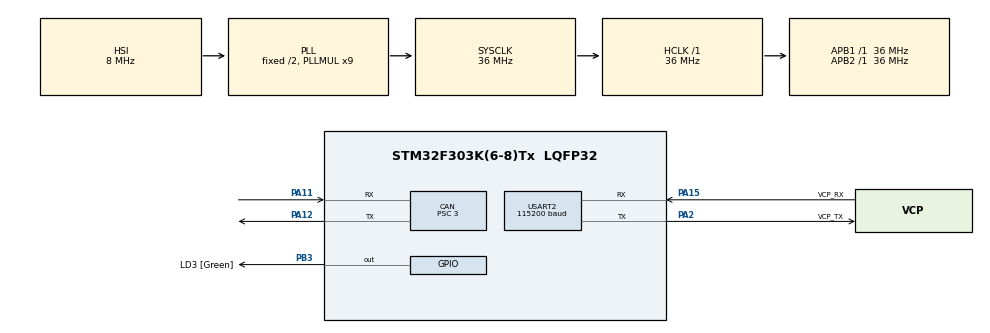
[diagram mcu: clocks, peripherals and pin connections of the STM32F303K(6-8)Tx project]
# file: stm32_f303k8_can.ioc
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CAN.BS1=CAN_BS1_9TQ
CAN.BS2=CAN_BS2_2TQ
CAN.CalculateBaudRate=999999
CAN.CalculateTimeQuantum=83.33333333333334
CAN.Mode=CAN_MODE_NORMAL
CAN.Prescaler=3
Dma.Request0=USART2_RX
Dma.USART2_RX.0.Direction=DMA_PERIPH_TO_MEMORY
Dma.USART2_RX.0.Instance=DMA1_Channel6
Dma.USART2_RX.0.MemDataAlignment=DMA_MDATAALIGN_BYTE
Dma.USART2_RX.0.MemInc=DMA_MINC_ENABLE
Dma.USART2_RX.0.Mode=DMA_NORMAL
Dma.USART2_RX.0.PeriphDataAlignment=DMA_PDATAALIGN_BYTE
Dma.USART2_RX.0.PeriphInc=DMA_PINC_DISABLE
Dma.USART2_RX.0.Priority=DMA_PRIORITY_LOW
Mcu.Family=STM32F3
Mcu.Name=STM32F303K(6-8)Tx
Mcu.Package=LQFP32
NVIC.CAN_RX0_IRQn=true\:0\:0\:false\:false\:true\:true\:true\:true
NVIC.CAN_TX_IRQn=true\:0\:0\:false\:false\:true\:true\:true\:true
NVIC.DMA1_Channel6_IRQn=true\:0\:0\:false\:false\:true\:false\:true\:true
NVIC.PriorityGroup=NVIC_PRIORITYGROUP_4
NVIC.USART2_IRQn=true\:0\:0\:false\:false\:true\:true\:true\:true
PA11.GPIO_PuPd=GPIO_NOPULL
PA11.Mode=CAN_Activate
PA11.Signal=CAN_RX
PA12.GPIO_Mode=GPIO_MODE_AF_PP
PA12.GPIO_PuPd=GPIO_PULLUP
PA12.Mode=CAN_Activate
PA12.Signal=CAN_TX
PA13.GPIO_Label=SWDIO
PA13.Mode=Serial_Wire
PA13.Signal=SYS_JTMS-SWDIO
PA14.GPIO_Label=SWCLK
PA14.Mode=Serial_Wire
PA14.Signal=SYS_JTCK-SWCLK
PA15.GPIO_Label=VCP_RX
PA15.GPIO_PuPd=GPIO_NOPULL
PA15.Mode=Asynchronous
PA15.Signal=USART2_RX
PA2.GPIO_Label=VCP_TX
PA2.GPIO_PuPd=GPIO_NOPULL
PA2.Mode=Asynchronous
PA2.Signal=USART2_TX
PB3.GPIO_Label=LD3 [Green]
PB3.Signal=GPIO_Output
PF0\ /\ OSC_IN.GPIO_Label=MCO
PF0\ /\ OSC_IN.Mode=HSE-External-Clock-Source
PF0\ /\ OSC_IN.Signal=RCC_OSC_IN
ProjectManager.HeapSize=0x200
ProjectManager.StackSize=0x400
ProjectManager.TargetToolchain=STM32CubeIDE
RCC.AHBFreq_Value=36000000
RCC.APB1Freq_Value=36000000
RCC.APB1TimFreq_Value=36000000
RCC.APB2Freq_Value=36000000
RCC.APB2TimFreq_Value=36000000
RCC.CortexFreq_Value=36000000
RCC.HCLKFreq_Value=36000000
RCC.HSE_VALUE=8000000
RCC.HSI_VALUE=8000000
RCC.PLLMUL=RCC_PLL_MUL9
RCC.SYSCLKFreq_VALUE=36000000
RCC.SYSCLKSourceVirtual=RCC_SYSCLKSOURCE_PLLCLK
USART2.BaudRate=115200
USART2.VirtualMode-Asynchronous=VM_ASYNC
board=NUCLEO-F303K8

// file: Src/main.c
/* USER CODE BEGIN Header */
/**
  ******************************************************************************
  * @file           : main.c
  * @brief          : Main program body
  ******************************************************************************
  * @attention
  *
  * <h2><center>&copy; Copyright (c) 2019 STMicroelectronics.
  * All rights reserved.</center></h2>
  *
  * This software component is licensed by ST under BSD 3-Clause license,
  * the "License"; You may not use this file except in compliance with the
  * License. You may obtain a copy of the License at:
  *                        opensource.org/licenses/BSD-3-Clause
  *
  ******************************************************************************
  */
/* USER CODE END Header */
#include "main.h"

 CAN_HandleTypeDef hcan;

UART_HandleTypeDef huart2;
DMA_HandleTypeDef hdma_usart2_rx;

/* USER CODE BEGIN PV */
CAN_FilterTypeDef sFilterConfig;
CAN_TxHeaderTypeDef TxHeader;
CAN_RxHeaderTypeDef RxHeader;
uint8_t TxData[8];
uint8_t RxData[8];
uint32_t TxMailbox;
/* USER CODE END PV */

void SystemClock_Config(void);
static void MX_GPIO_Init(void);
static void MX_USART2_UART_Init(void);
static void MX_DMA_Init(void);
static void MX_CAN_Init(void);

/* USER CODE BEGIN 0 */
uint8_t uart_data;
char tx_data[]="get_data\r\n";
int flag = 1;
uint8_t get_uart_flag=0;
uint8_t UART1_Data[2];
/* USER CODE END 0 */

int main(void)
{

  /* MCU Configuration--------------------------------------------------------*/

  /* Reset of all peripherals, Initializes the Flash interface and the Systick. */
  HAL_Init();

  /* Configure the system clock */
  SystemClock_Config();

  /* Initialize all configured peripherals */
  MX_GPIO_Init();
  MX_USART2_UART_Init();
  MX_DMA_Init();
  MX_CAN_Init();
  /* USER CODE BEGIN 2 */
  sFilterConfig.FilterBank = 0;
  sFilterConfig.FilterMode = CAN_FILTERMODE_IDMASK;
  sFilterConfig.FilterScale = CAN_FILTERSCALE_32BIT;
  sFilterConfig.FilterIdHigh = 0x0000;
  sFilterConfig.FilterIdLow = 0x0000;
  sFilterConfig.FilterMaskIdHigh = 0x0000;
  sFilterConfig.FilterMaskIdLow = 0x0000;
  sFilterConfig.FilterFIFOAssignment = CAN_RX_FIFO0;
  sFilterConfig.FilterActivation=ENABLE;
  sFilterConfig.SlaveStartFilterBank=14;
  if(HAL_CAN_ConfigFilter(&hcan,&sFilterConfig) != HAL_OK)
  {
    Error_Handler();
  }
  if(HAL_CAN_Start(&hcan)!=HAL_OK)
  {
    Error_Handler();
  }

  if(HAL_CAN_ActivateNotification(&hcan,CAN_IT_RX_FIFO0_MSG_PENDING | CAN_IT_TX_MAILBOX_EMPTY) != HAL_OK)
  {
	Error_Handler();
  }
  TxHeader.StdId=0x01;
  //TxHeader.ExtId=0x01;
  TxHeader.RTR = CAN_RTR_DATA;
  TxHeader.IDE = CAN_ID_STD;
  TxHeader.DLC = 8;
  TxHeader.TransmitGlobalTime = DISABLE;
  TxData[0] = 0xff;
  TxData[1] = 0x01;
  TxData[2] = 0x00;
  TxData[3] = 0x64;
  TxData[4] = 0x00;
  TxData[5] = 0x80;
  TxData[6] = 0x00;
  TxData[7] = 0x00;

  /* USER CODE END 2 */

  /* Infinite loop */
  while (1)
  {

    /* USER CODE BEGIN 3 */
	  get_uart_flag=0;
	  //HAL_UART_Receive_DMA(&huart2, UART1_Data, 1);
	  //受信するまで待つ
	  //while(!get_uart_flag){}
	  	  //TxData[6] = UART1_Data[0];
	  	  //TxData[7] = UART1_Data[1];
	  	  //HAL_CAN_AddTxMessage(&hcan,&TxHeader,TxData,&TxMailbox);
	  	  //HAL_Delay(100);
  	  //}
  }
  /* USER CODE END 3 */
}

void SystemClock_Config(void)
{
  RCC_OscInitTypeDef RCC_OscInitStruct = {0};
  RCC_ClkInitTypeDef RCC_ClkInitStruct = {0};

  /** Initializes the RCC Oscillators according to the specified parameters
  * in the RCC_OscInitTypeDef structure.
  */
  RCC_OscInitStruct.OscillatorType = RCC_OSCILLATORTYPE_HSI;
  RCC_OscInitStruct.HSIState = RCC_HSI_ON;
  RCC_OscInitStruct.HSICalibrationValue = RCC_HSICALIBRATION_DEFAULT;
  RCC_OscInitStruct.PLL.PLLState = RCC_PLL_ON;
  RCC_OscInitStruct.PLL.PLLSource = RCC_PLLSOURCE_HSI;
  RCC_OscInitStruct.PLL.PLLMUL = RCC_PLL_MUL9;
  if (HAL_RCC_OscConfig(&RCC_OscInitStruct) != HAL_OK)
  {
    Error_Handler();
  }

  /** Initializes the CPU, AHB and APB buses clocks
  */
  RCC_ClkInitStruct.ClockType = RCC_CLOCKTYPE_HCLK|RCC_CLOCKTYPE_SYSCLK
                              |RCC_CLOCKTYPE_PCLK1|RCC_CLOCKTYPE_PCLK2;
  RCC_ClkInitStruct.SYSCLKSource = RCC_SYSCLKSOURCE_PLLCLK;
  RCC_ClkInitStruct.AHBCLKDivider = RCC_SYSCLK_DIV1;
  RCC_ClkInitStruct.APB1CLKDivider = RCC_HCLK_DIV1;
  RCC_ClkInitStruct.APB2CLKDivider = RCC_HCLK_DIV1;

  if (HAL_RCC_ClockConfig(&RCC_ClkInitStruct, FLASH_LATENCY_1) != HAL_OK)
  {
    Error_Handler();
  }
}

static void MX_CAN_Init(void)
{

  hcan.Instance = CAN;
  hcan.Init.Prescaler = 3;
  hcan.Init.Mode = CAN_MODE_NORMAL;
  hcan.Init.SyncJumpWidth = CAN_SJW_1TQ;
  hcan.Init.TimeSeg1 = CAN_BS1_9TQ;
  hcan.Init.TimeSeg2 = CAN_BS2_2TQ;
  hcan.Init.TimeTriggeredMode = DISABLE;
  hcan.Init.AutoBusOff = DISABLE;
  hcan.Init.AutoWakeUp = DISABLE;
  hcan.Init.AutoRetransmission = DISABLE;
  hcan.Init.ReceiveFifoLocked = DISABLE;
  hcan.Init.TransmitFifoPriority = DISABLE;
  if (HAL_CAN_Init(&hcan) != HAL_OK)
  {
    Error_Handler();
  }

}

static void MX_USART2_UART_Init(void)
{

  huart2.Instance = USART2;
  huart2.Init.BaudRate = 115200;
  huart2.Init.WordLength = UART_WORDLENGTH_8B;
  huart2.Init.StopBits = UART_STOPBITS_1;
  huart2.Init.Parity = UART_PARITY_NONE;
  huart2.Init.Mode = UART_MODE_TX_RX;
  huart2.Init.HwFlowCtl = UART_HWCONTROL_NONE;
  huart2.Init.OverSampling = UART_OVERSAMPLING_16;
  huart2.Init.OneBitSampling = UART_ONE_BIT_SAMPLE_DISABLE;
  huart2.AdvancedInit.AdvFeatureInit = UART_ADVFEATURE_NO_INIT;
  if (HAL_UART_Init(&huart2) != HAL_OK)
  {
    Error_Handler();
  }

}

static void MX_DMA_Init(void)
{

  /* DMA controller clock enable */
  __HAL_RCC_DMA1_CLK_ENABLE();

  /* DMA interrupt init */
  /* DMA1_Channel6_IRQn interrupt configuration */
  HAL_NVIC_SetPriority(DMA1_Channel6_IRQn, 0, 0);
  HAL_NVIC_EnableIRQ(DMA1_Channel6_IRQn);

}

static void MX_GPIO_Init(void)
{
  GPIO_InitTypeDef GPIO_InitStruct = {0};

  /* GPIO Ports Clock Enable */
  __HAL_RCC_GPIOF_CLK_ENABLE();
  __HAL_RCC_GPIOA_CLK_ENABLE();
  __HAL_RCC_GPIOB_CLK_ENABLE();

  /*Configure GPIO pin Output Level */
  HAL_GPIO_WritePin(LD3_GPIO_Port, LD3_Pin, GPIO_PIN_RESET);

  /*Configure GPIO pin : LD3_Pin */
  GPIO_InitStruct.Pin = LD3_Pin;
  GPIO_InitStruct.Mode = GPIO_MODE_OUTPUT_PP;
  GPIO_InitStruct.Pull = GPIO_NOPULL;
  GPIO_InitStruct.Speed = GPIO_SPEED_FREQ_LOW;
  HAL_GPIO_Init(LD3_GPIO_Port, &GPIO_InitStruct);

}

/* USER CODE BEGIN 4 */
void HAL_UART_RxCpltCallback(UART_HandleTypeDef*UartHandle)
{
	HAL_UART_Transmit(&huart2,UART1_Data,1,1000);
	get_uart_flag=1;
}
void HAL_CAN_TxMailbox0CompleteCallack(CAN_HandleTypeDef *hcan)
{
	  HAL_GPIO_WritePin(GPIOB,GPIO_PIN_3,1);
}

void HAL_CAN_RxFifo0MsgPendingCallback(CAN_HandleTypeDef *hcan_)
{
  HAL_UART_Transmit(&huart2, tx_data, 3,0xFFFF);
  HAL_CAN_GetRxMessage(&hcan,CAN_RX_FIFO0, &RxHeader,RxData);
  HAL_UART_Transmit(&huart2,RxData,1,0xFFFF);
  flag *= -1;
  if(flag >0){
	  HAL_GPIO_WritePin(GPIOB,GPIO_PIN_3,1);
  }else{
	  HAL_GPIO_WritePin(GPIOB,GPIO_PIN_3,0);
  }
}
/* USER CODE END 4 */

void Error_Handler(void)
{
}
